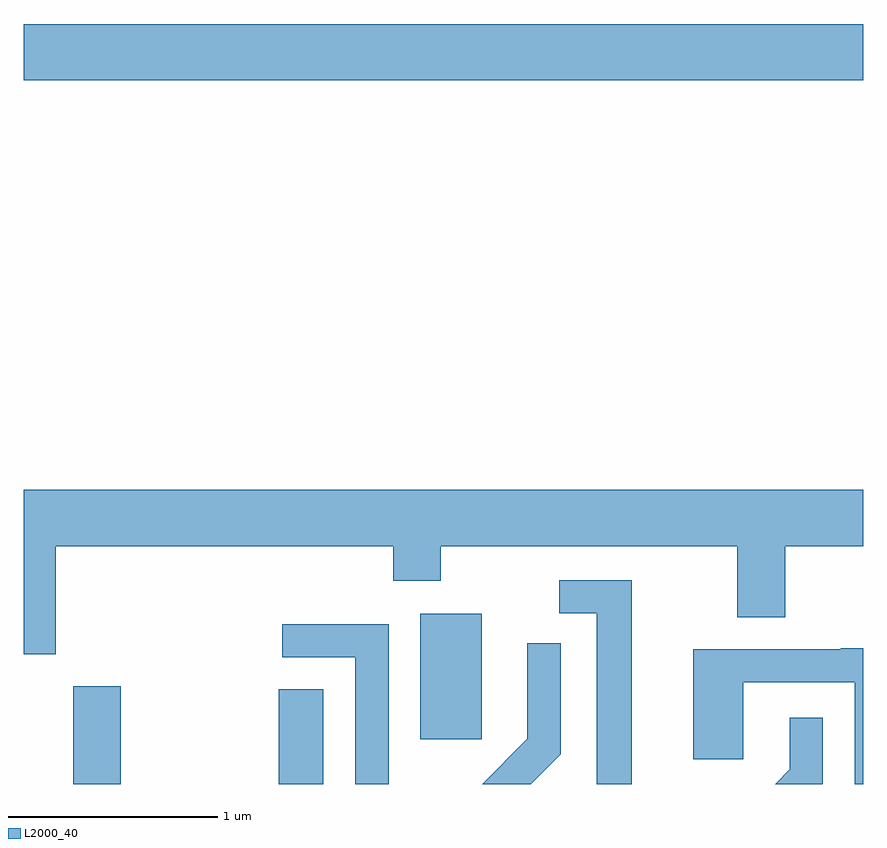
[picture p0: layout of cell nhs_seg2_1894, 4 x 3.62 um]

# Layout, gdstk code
import gdstk
lib = gdstk.Library(unit=1e-6, precision=1e-09)
def R(c, l, rs):  # rectangles x0, y0, x1, y1
    for r in rs: c.add(gdstk.rectangle(r[:2], r[2:], *l))
def P(c, l, *ps):  # polygons
    for p in ps: c.add(gdstk.Polygon(p, *l))
L2000_40 = (2000, 40)

nhs_seg2_1894 = lib.new_cell('nhs_seg2_1894')
R(nhs_seg2_1894, L2000_40, [(239.846,1093.802,240.074,1094.269), (240.826,1093.802,241.039,1094.254), (241.501,1094.016,241.794,1094.614), (239.611,1097.156,243.611,1097.424)])
P(nhs_seg2_1894, L2000_40, [(239.764,1094.936),(241.371,1094.936),(241.371,1094.771),(241.599,1094.771),(241.599,1094.936),(243.011,1094.936),(243.011,1094.596),(243.239,1094.596),(243.239,1094.936),(243.611,1094.936),(243.611,1095.204),(239.611,1095.204),(239.611,1094.421),(239.764,1094.421)],
  [(242.509,1094.774),(242.163,1094.774),(242.163,1094.616),(242.341,1094.616),(242.341,1093.802),(242.509,1093.802)],
  [(241.349,1094.564),(240.843,1094.564),(240.843,1094.406),(241.191,1094.406),(241.191,1093.802),(241.349,1093.802)],
  [(242.169,1093.944),(242.169,1094.473),(242.011,1094.473),(242.011,1094.017),(241.796,1093.802),(242.027,1093.802)],
  [(243.611,1094.449),(243.505,1094.449),(243.505,1094.444),(242.801,1094.444),(242.801,1093.921),(243.039,1093.921),(243.039,1094.286),(243.571,1094.286),(243.571,1093.802),(243.611,1093.802)],
  [(243.419,1093.804),(243.419,1094.118),(243.261,1094.118),(243.261,1093.872),(243.192,1093.802),(243.417,1093.802)])

lib.write_gds('nhs_seg2_1894.gds')
